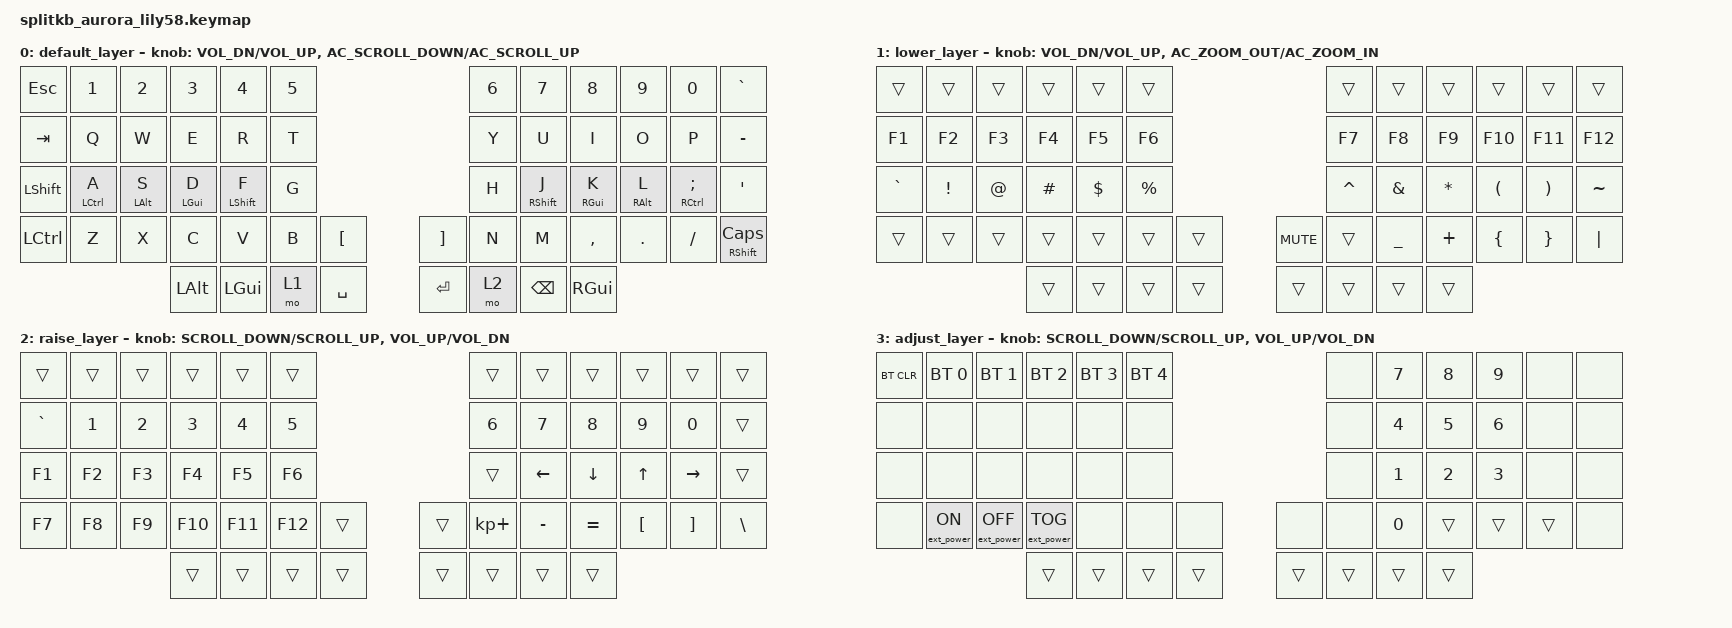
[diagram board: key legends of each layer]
/*
 * Copyright (c) 2022 The ZMK Contributors
 *
 * SPDX-License-Identifier: MIT
 */

#include <behaviors.dtsi>
#include <dt-bindings/zmk/keys.h>
#include <dt-bindings/zmk/bt.h>
#include <dt-bindings/zmk/ext_power.h>
#include <dt-bindings/zmk/outputs.h>

/ {
    conditional_layers {
           compatible = "zmk,conditional-layers";
           adjust_layer {
               if-layers = <1 2>;
               then-layer = <3>;
           };
   };

     combos {
            compatible = "zmk,combos";
            combo_tab {
                timeout-ms = <26>;
                key-positions = <16 17>;
                bindings = <&kp TAB>;
            };
    };

    behaviors {
        gqt: global-quick-tap {
            compatible = "zmk,behavior-hold-tap";
            label = "GLOBAL_QUICK_TAP";
            #binding-cells = <2>;
            quick-tap-ms = <75>;
            flavor = "tap-preferred";
            tapping-term-ms = <230>;
            quick-tap-ms = <60>;
            bindings = <&kp>, <&kp>;
        };
    };

	keymap {
		compatible = "zmk,keymap";

		default_layer {
// -------------------------------------------------------------------------------------------------------------
// |  ESC  |  1  |  2  |  3   |  4   |  5   |                   |  6   |  7    |  8    |  9   |   0   |   `   |
// |  TAB  |  Q  |  W  |  E   |  R   |  T   |                   |  Y   |  U    |  I    |  O   |   P   |   -   |
// |  SHIFT |  A  |  S  |  D   |  F   |  G   |                   |  H   |  J    |  K    |  L   |   ;   |   '   |
// | CTRL |  Z  |  X  |  C   |  V   |  B   |   "["  |  |  "]"  |  N   |  M    |  ,    |  .   |   /   | SHIFT |
//                     | ALT  | GUI  | LOWER|  SPACE |  | ENTER | RAISE| BSPC  | GUI   |
			bindings = <
&kp ESC   &kp N1 &kp N2 &kp N3   &kp N4   &kp N5                     &kp N6 &kp N7   &kp N8    &kp N9  &kp N0   &kp GRAVE
&kp TAB   &kp Q  &kp W  &kp E    &kp R    &kp T                      &kp Y  &kp U    &kp I     &kp O   &kp P    &kp MINUS
&kp LSHFT &gqt LCTRL A &gqt LALT S  &gqt LGUI D    &gqt LSHFT F    &kp G                      &kp H  &gqt RSHFT J    &gqt RGUI K     &gqt RALT L   &gqt RCTRL SEMI &kp SQT
&kp LCTRL &kp Z  &kp X  &kp C    &kp V    &kp B  &kp LBKT   &kp RBKT &kp N  &kp M    &kp COMMA &kp DOT &kp FSLH  &gqt RSHFT CAPSLOCK
                        &kp LALT &kp LGUI &mo 1  &kp SPACE  &kp RET  &mo 2  &kp BSPC &kp RGUI
			>;

			sensor-bindings = <&inc_dec_kp C_VOL_DN C_VOL_UP &inc_dec_kp C_AC_SCROLL_DOWN C_AC_SCROLL_UP>;
		};

		lower_layer {
// ------------------------------------------------------------------------------------------------------------
// |       |     |     |      |      |      |                   |      |       |       |      |       |       |
// |  F1   |  F2 |  F3 |  F4  |  F5  |  F6  |                   |  F7  |  F8   |  F9   |  F10 |  F11  |  F12  |
// |   `   |  !  |  @  |  #   |  $   |  %   |                   |  ^   |  &    |  *    |  (   |   )   |   ~   |
// |       |     |     |      |      |      |        |  |       |      |  _    |  +    |  {   |   }   |  "|"  |
//                     |      |      |      |        |  |       |      |       |       |
			bindings = <
&trans     &trans           &trans          &trans              &trans       &trans          &trans    &trans    &trans          &trans    &trans    &trans
&kp F1     &kp F2           &kp F3            &kp F4            &kp F5       &kp F6                       &kp F7    &kp F8    &kp F9          &kp F10   &kp F11   &kp F12
&kp GRAVE  &kp EXCL         &kp AT            &kp HASH          &kp DOLLAR   &kp PRCNT                    &kp CARET &kp AMPS  &kp STAR         &kp LPAR  &kp RPAR  &kp TILDE
&trans     &trans           &trans          &trans              &trans       &trans    &trans   &kp C_MUTE    &trans    &kp UNDERSCORE &kp PLUS        &kp LBRC  &kp RBRC  &kp PIPE
                                              &trans            &trans       &trans    &trans   &trans    &trans    &trans    &trans
			>;

			sensor-bindings = <&inc_dec_kp C_VOL_DN C_VOL_UP &inc_dec_kp C_AC_ZOOM_OUT C_AC_ZOOM_IN>;
		};

		raise_layer {
// ------------------------------------------------------------------------------------------------------------
// |       |     |     |      |      |      |                   |      |       |       |      |       |       |
// |   `   |  1  |  2  |  3   |  4   |  5   |                   |  6   |   7   |   8   |  9   |   0   |       |
// |   F1  |  F2 |  F3 |  F4  |  F5  |  F6  |                   |      |   <-  |   v   |  ^   |  ->   |       |
// |   F7  |  F8 |  F9 |  F10 |  F11 |  F12 |        |  |       |  +   |   -   |   =   |  [   |   ]   |   \   |
//                     |      |      |      |        |  |       |      |       |       |
			bindings = <
&trans    &trans &trans &trans  &trans  &trans                       &trans      &trans    &trans    &trans   &trans    &trans
&kp GRAVE &kp N1 &kp N2 &kp N3  &kp N4  &kp N5                       &kp N6      &kp N7    &kp N8    &kp N9   &kp N0    &trans
&kp F1    &kp F2 &kp F3 &kp F4  &kp F5  &kp F6                       &trans      &kp LEFT  &kp DOWN  &kp UP   &kp RIGHT &trans
&kp F7    &kp F8 &kp F9 &kp F10 &kp F11 &kp F12   &trans   &trans    &kp KP_PLUS &kp MINUS &kp EQUAL &kp LBKT &kp RBKT  &kp BSLH
                        &trans  &trans  &trans    &trans   &trans    &trans      &trans    &trans
			>;

			sensor-bindings = <&inc_dec_kp K_SCROLL_DOWN K_SCROLL_UP &inc_dec_kp C_VOL_UP C_VOL_DN>;
		};


		adjust_layer {
// ------------------------------------------------------------------------------------------------------------
// | BTCLR | BT1 | BT2 |  BT3 |  BT4 |  BT5 |                   |      |       |       |      |       |       |
// |       |     |     |      |      |      |                   |      |       |       |      |       |       |
// |       |     |     |      |      |      |                   |      |       |       |      |       |       |
// |       |     |     |      |      |      |        |  |       |      |       |       |      |       |       |
//                     |      |      |      |        |  |       |      |       |       |
			bindings = <
&bt BT_CLR &bt BT_SEL 0 &bt BT_SEL 1 &bt BT_SEL 2 &bt BT_SEL 3 &bt BT_SEL 4   &none &kp N7 &kp N8 &kp N9 &none  &none
                &none  &none  &none  &none  &none &none                       &none &kp N4 &kp N5 &kp N6 &none  &none
                &none  &none  &none  &none  &none   &none                     &none &kp N1 &kp N2 &kp N3 &none  &none
    &none  &ext_power EP_ON &ext_power EP_OFF &ext_power EP_TOG &none  &none &none      &none &none &kp N0 &trans &trans &trans &none
                                        &trans  &trans  &trans    &trans   &trans    &trans      &trans    &trans
			>;

			sensor-bindings = <&inc_dec_kp K_SCROLL_DOWN K_SCROLL_UP &inc_dec_kp C_VOL_UP C_VOL_DN>;
		};
	};
};

&left_encoder {
    resolution = <2>; // Default is 4
};

&right_encoder {
    resolution = <2>; // Default is 4
};
